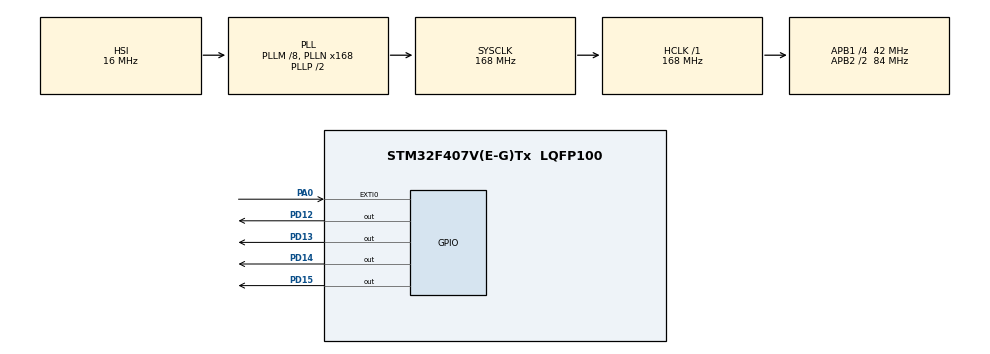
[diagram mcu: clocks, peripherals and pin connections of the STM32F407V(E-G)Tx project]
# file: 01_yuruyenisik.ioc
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Mcu.Family=STM32F4
Mcu.Name=STM32F407V(E-G)Tx
Mcu.Package=LQFP100
NVIC.EXTI0_IRQn=true\:0\:0\:false\:false\:true\:true\:true\:true
NVIC.PriorityGroup=NVIC_PRIORITYGROUP_4
NVIC.TIM2_IRQn=true\:0\:0\:false\:false\:true\:true\:true\:true
PA0-WKUP.Signal=GPXTI0
PD12.Signal=GPIO_Output
PD13.Signal=GPIO_Output
PD14.Signal=GPIO_Output
PD15.Signal=GPIO_Output
ProjectManager.HeapSize=0x200
ProjectManager.StackSize=0x400
ProjectManager.TargetToolchain=STM32CubeIDE
RCC.48MHZClocksFreq_Value=84000000
RCC.AHBFreq_Value=168000000
RCC.APB1CLKDivider=RCC_HCLK_DIV4
RCC.APB1Freq_Value=42000000
RCC.APB1TimFreq_Value=84000000
RCC.APB2CLKDivider=RCC_HCLK_DIV2
RCC.APB2Freq_Value=84000000
RCC.APB2TimFreq_Value=168000000
RCC.CortexFreq_Value=168000000
RCC.HCLKFreq_Value=168000000
RCC.HSE_VALUE=25000000
RCC.HSI_VALUE=16000000
RCC.LSE_VALUE=32768
RCC.PLLM=8
RCC.PLLN=168
RCC.SYSCLKFreq_VALUE=168000000
RCC.SYSCLKSource=RCC_SYSCLKSOURCE_PLLCLK
RCC.VCOOutputFreq_Value=336000000
TIM2.Period=9
TIM2.Prescaler=8399
VP_TIM2_VS_ClockSourceINT.Mode=Internal
board=custom

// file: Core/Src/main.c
/* USER CODE BEGIN Header */
/**
  ******************************************************************************
  * @file           : main.c
  * @brief          : Main program body
  ******************************************************************************
  * @attention
  *
  * Copyright (c) 2026 STMicroelectronics.
  * All rights reserved.
  *
  * This software is licensed under terms that can be found in the LICENSE file
  * in the root directory of this software component.
  * If no LICENSE file comes with this software, it is provided AS-IS.
  *
  ******************************************************************************
  */
/* USER CODE END Header */
#include "main.h"

TIM_HandleTypeDef htim2;

/* USER CODE BEGIN PV */

  uint16_t leds[4] = {GPIO_PIN_12, GPIO_PIN_13, GPIO_PIN_14, GPIO_PIN_15};
  uint16_t hizlar[4] = {800, 400, 200, 80};
  int8_t index = 0;
  int8_t dir = 1;

  // değişkenin register yerine bellekte tutulması için volatile olarak tanımlanmıştır
  volatile uint8_t hiz_index = 1;
  volatile uint32_t son_kesme = 0;
  // maksimum alabileceği deger 800 olduğu için uint16 olarak tanımalandı
  volatile uint16_t led_sayac = 0;

/* USER CODE END PV */

void SystemClock_Config(void);
static void MX_GPIO_Init(void);
static void MX_TIM2_Init(void);

int main(void)
{

  /* MCU Configuration--------------------------------------------------------*/

  /* Reset of all peripherals, Initializes the Flash interface and the Systick. */
  HAL_Init();

  /* Configure the system clock */
  SystemClock_Config();

  /* Initialize all configured peripherals */
  MX_GPIO_Init();
  MX_TIM2_Init();
  /* USER CODE BEGIN 2 */

  HAL_TIM_Base_Start_IT(&htim2);

  /* USER CODE END 2 */

  /* Infinite loop */
  while (1)
  {

  }
}

void SystemClock_Config(void)
{
  RCC_OscInitTypeDef RCC_OscInitStruct = {0};
  RCC_ClkInitTypeDef RCC_ClkInitStruct = {0};

  /** Configure the main internal regulator output voltage
  */
  __HAL_RCC_PWR_CLK_ENABLE();
  __HAL_PWR_VOLTAGESCALING_CONFIG(PWR_REGULATOR_VOLTAGE_SCALE1);

  /** Initializes the RCC Oscillators according to the specified parameters
  * in the RCC_OscInitTypeDef structure.
  */
  RCC_OscInitStruct.OscillatorType = RCC_OSCILLATORTYPE_HSI;
  RCC_OscInitStruct.HSIState = RCC_HSI_ON;
  RCC_OscInitStruct.HSICalibrationValue = RCC_HSICALIBRATION_DEFAULT;
  RCC_OscInitStruct.PLL.PLLState = RCC_PLL_ON;
  RCC_OscInitStruct.PLL.PLLSource = RCC_PLLSOURCE_HSI;
  RCC_OscInitStruct.PLL.PLLM = 8;
  RCC_OscInitStruct.PLL.PLLN = 168;
  RCC_OscInitStruct.PLL.PLLP = RCC_PLLP_DIV2;
  RCC_OscInitStruct.PLL.PLLQ = 4;
  if (HAL_RCC_OscConfig(&RCC_OscInitStruct) != HAL_OK)
  {
    Error_Handler();
  }

  /** Initializes the CPU, AHB and APB buses clocks
  */
  RCC_ClkInitStruct.ClockType = RCC_CLOCKTYPE_HCLK|RCC_CLOCKTYPE_SYSCLK
                              |RCC_CLOCKTYPE_PCLK1|RCC_CLOCKTYPE_PCLK2;
  RCC_ClkInitStruct.SYSCLKSource = RCC_SYSCLKSOURCE_PLLCLK;
  RCC_ClkInitStruct.AHBCLKDivider = RCC_SYSCLK_DIV1;
  RCC_ClkInitStruct.APB1CLKDivider = RCC_HCLK_DIV4;
  RCC_ClkInitStruct.APB2CLKDivider = RCC_HCLK_DIV2;

  if (HAL_RCC_ClockConfig(&RCC_ClkInitStruct, FLASH_LATENCY_5) != HAL_OK)
  {
    Error_Handler();
  }
}

static void MX_TIM2_Init(void)
{

  TIM_ClockConfigTypeDef sClockSourceConfig = {0};
  TIM_MasterConfigTypeDef sMasterConfig = {0};

  htim2.Instance = TIM2;
  htim2.Init.Prescaler = 8399;
  htim2.Init.CounterMode = TIM_COUNTERMODE_UP;
  htim2.Init.Period = 9;
  htim2.Init.ClockDivision = TIM_CLOCKDIVISION_DIV1;
  htim2.Init.AutoReloadPreload = TIM_AUTORELOAD_PRELOAD_DISABLE;
  if (HAL_TIM_Base_Init(&htim2) != HAL_OK)
  {
    Error_Handler();
  }
  sClockSourceConfig.ClockSource = TIM_CLOCKSOURCE_INTERNAL;
  if (HAL_TIM_ConfigClockSource(&htim2, &sClockSourceConfig) != HAL_OK)
  {
    Error_Handler();
  }
  sMasterConfig.MasterOutputTrigger = TIM_TRGO_RESET;
  sMasterConfig.MasterSlaveMode = TIM_MASTERSLAVEMODE_DISABLE;
  if (HAL_TIMEx_MasterConfigSynchronization(&htim2, &sMasterConfig) != HAL_OK)
  {
    Error_Handler();
  }

}

static void MX_GPIO_Init(void)
{
  GPIO_InitTypeDef GPIO_InitStruct = {0};

  /* GPIO Ports Clock Enable */
  __HAL_RCC_GPIOA_CLK_ENABLE();
  __HAL_RCC_GPIOD_CLK_ENABLE();

  /*Configure GPIO pin Output Level */
  HAL_GPIO_WritePin(GPIOD, GPIO_PIN_12|GPIO_PIN_13|GPIO_PIN_14|GPIO_PIN_15, GPIO_PIN_RESET);

  /*Configure GPIO pin : PA0 */
  GPIO_InitStruct.Pin = GPIO_PIN_0;
  GPIO_InitStruct.Mode = GPIO_MODE_IT_RISING;
  GPIO_InitStruct.Pull = GPIO_NOPULL;
  HAL_GPIO_Init(GPIOA, &GPIO_InitStruct);

  /*Configure GPIO pins : PD12 PD13 PD14 PD15 */
  GPIO_InitStruct.Pin = GPIO_PIN_12|GPIO_PIN_13|GPIO_PIN_14|GPIO_PIN_15;
  GPIO_InitStruct.Mode = GPIO_MODE_OUTPUT_PP;
  GPIO_InitStruct.Pull = GPIO_NOPULL;
  GPIO_InitStruct.Speed = GPIO_SPEED_FREQ_LOW;
  HAL_GPIO_Init(GPIOD, &GPIO_InitStruct);

  /* EXTI interrupt init*/
  HAL_NVIC_SetPriority(EXTI0_IRQn, 0, 0);
  HAL_NVIC_EnableIRQ(EXTI0_IRQn);

}

/* USER CODE BEGIN 4 */

void HAL_GPIO_EXTI_Callback(uint16_t GPIO_Pin)
{
    if (GPIO_Pin == GPIO_PIN_0)
    {
    	uint32_t simdi = HAL_GetTick();

    	if(simdi - son_kesme > 200)
    	{
    		hiz_index++;
    		if(hiz_index >= 4)
    			hiz_index = 0;
    		son_kesme = simdi;
    	}
    }
}

void HAL_TIM_PeriodElapsedCallback(TIM_HandleTypeDef *htim)
{
	if(htim->Instance == TIM2)
	{
		led_sayac++;

		if(led_sayac >= hizlar[hiz_index])
		{
			led_sayac = 0;

			for(int i=0; i<4; i++)
			{
				HAL_GPIO_WritePin(GPIOD, leds[i], GPIO_PIN_RESET);
			}
			HAL_GPIO_WritePin(GPIOD, leds[index], GPIO_PIN_SET);

			index += dir;
			if(index == 3 || index == 0)
				dir = -dir;
		}
	}
}

/* USER CODE END 4 */

void Error_Handler(void)
{
  __disable_irq();
  while (1)
  {
  }
}
